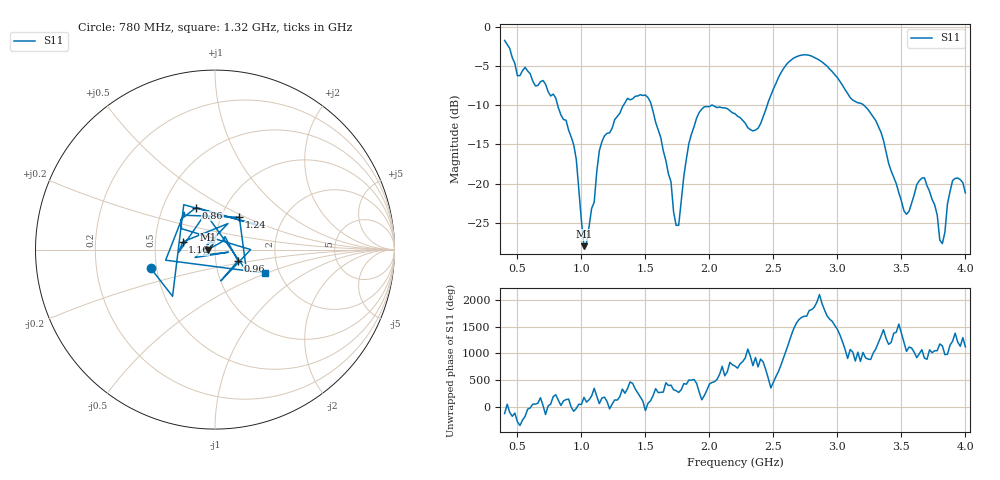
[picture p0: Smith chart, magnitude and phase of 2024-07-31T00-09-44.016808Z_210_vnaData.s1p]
!Created with skrf (http://scikit-rf.org).
# Hz S RI R 50.0
!freq ReS11 ImS11
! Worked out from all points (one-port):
!   181 points, 400 MHz to 4 GHz, reference 50 ohm
!   lowest |S11| = -28.0 dB at 1.02 GHz (marker M1), VSWR 1.08, Z = 46.2 + j0.00866 ohm
!   |S11| at or under -10 dB: 814.8 MHz to 1.328 GHz (513.4 MHz wide, 47.9 % of centre); 1.547 GHz to 2.016 GHz (469 MHz wide, 26.3 % of centre); 3.208 GHz to end of sweep (the widest 3 of 4)
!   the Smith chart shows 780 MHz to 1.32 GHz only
!   S11 on the Smith chart (normalised r, x): 780 MHz: 0.46, -0.11; 860 MHz: 0.73, +0.37; 960 MHz: 1.28, -0.17; 1.16 GHz: 0.69, +0.06; 1.24 GHz: 1.22, +0.46; 1.32 GHz: 1.69, -0.49
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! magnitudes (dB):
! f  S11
! 400 MHz  -1.7
! 500 MHz  -6.2
! 560 MHz  -5.1
! 780 MHz  -8.6
! 860 MHz  -11.8
! 960 MHz  -16.9
! 1.02 GHz  -28.0
! 1.1 GHz  -22.4
! 1.16 GHz  -14.7
! 1.24 GHz  -12.9
! 1.3 GHz  -11.0
! 1.32 GHz  -10.2
! 1.54 GHz  -9.6
! 1.76 GHz  -25.3
! 1.84 GHz  -14.8
! 1.92 GHz  -10.9
! 2.2 GHz  -11.1
! 2.38 GHz  -12.9
! 2.66 GHz  -3.9
! 2.88 GHz  -4.5
! 3.1 GHz  -9.0
! 3.3 GHz  -12.0
! 3.52 GHz  -23.5
! 3.56 GHz  -23.5
! 3.68 GHz  -19.3
! 3.82 GHz  -27.7
! 3.9 GHz  -19.6
! 4 GHz  -21.2
